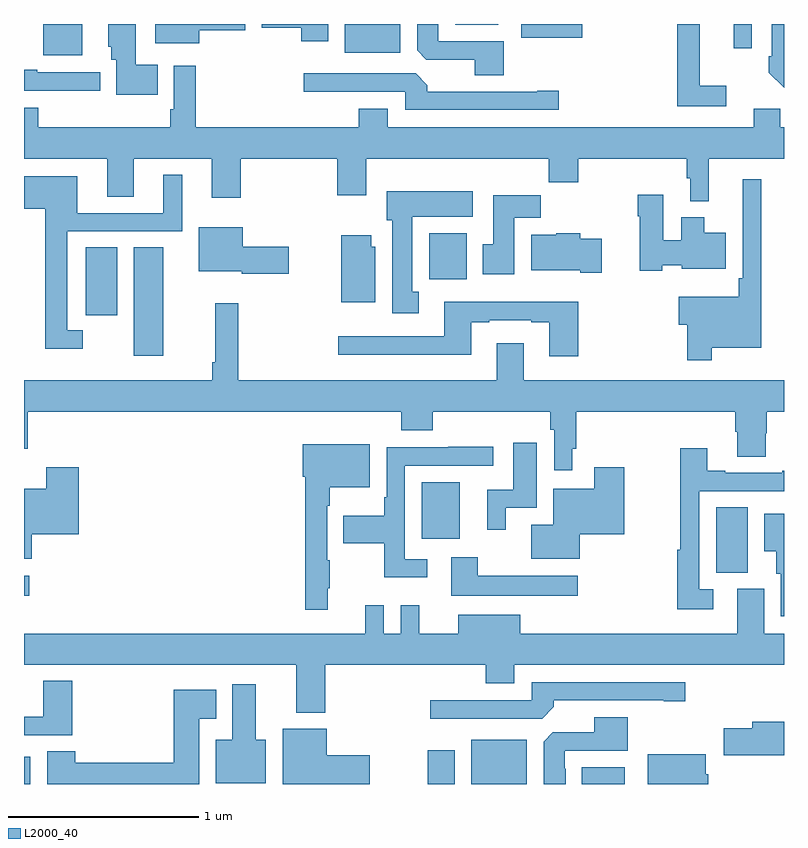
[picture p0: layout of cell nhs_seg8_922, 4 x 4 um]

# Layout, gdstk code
import gdstk
lib = gdstk.Library(unit=1e-6, precision=1e-09)
def R(c, l, rs):  # rectangles x0, y0, x1, y1
    for r in rs: c.add(gdstk.rectangle(r[:2], r[2:], *l))
def P(c, l, *ps):  # polygons
    for p in ps: c.add(gdstk.Polygon(p, *l))
L2000_40 = (2000, 40)

nhs_seg8_922 = lib.new_cell('nhs_seg8_922')
R(nhs_seg8_922, L2000_40, [(171,1087.9,171.034,1088.044), (173.125,1087.9,173.266,1088.077), (173.354,1087.9,173.647,1088.134), (173.936,1087.9,174.163,1087.987), (171,1088.891,171.028,1088.995), (174.644,1089.013,174.808,1089.356), (173.093,1089.191,173.293,1089.487), (171.578,1090.155,171.733,1090.724), (171.326,1090.368,171.49,1090.724), (173.132,1090.556,173.329,1090.798), (171.101,1091.735,171.307,1091.9), (172.688,1091.75,172.981,1091.9), (174.735,1091.772,174.831,1091.9), (173.616,1091.828,173.938,1091.9), (173.27,1091.897,173.497,1091.9)])
P(nhs_seg8_922, L2000_40, [(174.697,1091.575),(174.557,1091.575),(174.557,1091.9),(174.439,1091.9),(174.439,1091.466),(174.697,1091.466)],
  [(171.922,1091.867),(172.165,1091.867),(172.165,1091.9),(171.692,1091.9),(171.692,1091.798),(171.922,1091.798)],
  [(172.6,1091.9),(172.25,1091.9),(172.25,1091.879),(172.459,1091.879),(172.459,1091.808),(172.6,1091.808)],
  [(173.525,1091.808),(173.181,1091.808),(173.181,1091.9),(173.069,1091.9),(173.069,1091.761),(173.118,1091.712),(173.372,1091.712),(173.372,1091.629),(173.525,1091.629)],
  [(175,1091.9),(174.936,1091.9),(174.936,1091.731),(174.921,1091.731),(174.921,1091.643),(175,1091.564)],
  [(171.704,1091.686),(171.589,1091.686),(171.589,1091.9),(171.443,1091.9),(171.443,1091.781),(171.458,1091.781),(171.458,1091.712),(171.485,1091.712),(171.485,1091.528),(171.704,1091.528)],
  [(172.801,1091.192),(173.761,1091.192),(173.761,1091.068),(173.918,1091.068),(173.918,1091.192),(174.487,1091.192),(174.487,1091.089),(174.506,1091.089),(174.506,1090.967),(174.605,1090.967),(174.605,1091.192),(175,1091.192),(175,1091.356),(174.981,1091.356),(174.981,1091.454),(174.842,1091.454),(174.842,1091.356),(172.915,1091.356),(172.915,1091.455),(172.763,1091.455),(172.763,1091.356),(171.905,1091.356),(171.905,1091.68),(171.789,1091.68),(171.789,1091.452),(171.769,1091.452),(171.769,1091.356),(171.074,1091.356),(171.074,1091.458),(171,1091.458),(171,1091.192),(171.437,1091.192),(171.437,1090.99),(171.577,1090.99),(171.577,1091.192),(171.989,1091.192),(171.989,1090.986),(172.142,1090.986),(172.142,1091.192),(172.649,1091.192),(172.649,1090.998),(172.801,1090.998)],
  [(171.4,1091.646),(171.07,1091.646),(171.07,1091.659),(171,1091.659),(171,1091.55),(171.157,1091.55),(171.157,1091.549),(171.4,1091.549)],
  [(173.815,1091.549),(173.702,1091.549),(173.702,1091.544),(173.123,1091.544),(173.123,1091.578),(173.061,1091.64),(172.473,1091.64),(172.473,1091.544),(173.007,1091.544),(173.007,1091.448),(173.815,1091.448)],
  [(171.31,1090.287),(171.228,1090.287),(171.228,1090.809),(171.832,1090.809),(171.832,1091.107),(171.734,1091.107),(171.734,1090.905),(171.28,1090.905),(171.28,1091.098),(171,1091.098),(171,1090.928),(171.112,1090.928),(171.112,1090.19),(171.31,1090.19)],
  [(174.619,1090.196),(174.88,1090.196),(174.88,1091.083),(174.783,1091.083),(174.783,1090.561),(174.763,1090.561),(174.763,1090.465),(174.446,1090.465),(174.446,1090.318),(174.49,1090.318),(174.49,1090.131),(174.619,1090.131)],
  [(173.077,1090.49),(173.044,1090.49),(173.044,1090.886),(173.362,1090.886),(173.362,1091.02),(172.91,1091.02),(172.91,1090.866),(172.937,1090.866),(172.937,1090.377),(173.077,1090.377)],
  [(174.36,1090.631),(174.462,1090.631),(174.462,1090.613),(174.694,1090.613),(174.694,1090.801),(174.58,1090.801),(174.58,1090.882),(174.458,1090.882),(174.458,1090.761),(174.364,1090.761),(174.364,1091.002),(174.23,1091.002),(174.23,1090.889),(174.242,1090.889),(174.242,1090.601),(174.36,1090.601)],
  [(173.581,1090.88),(173.72,1090.88),(173.72,1090.999),(173.471,1090.999),(173.471,1090.74),(173.414,1090.74),(173.414,1090.584),(173.581,1090.584)],
  [(172.393,1090.728),(172.15,1090.728),(172.15,1090.831),(171.92,1090.831),(171.92,1090.598),(172.146,1090.598),(172.146,1090.586),(172.393,1090.586)],
  [(174.04,1090.77),(173.928,1090.77),(173.928,1090.798),(173.802,1090.798),(173.802,1090.792),(173.669,1090.792),(173.669,1090.604),(173.927,1090.604),(173.927,1090.592),(174.04,1090.592)],
  [(172.849,1090.728),(172.828,1090.728),(172.828,1090.789),(172.67,1090.789),(172.67,1090.436),(172.849,1090.436)],
  [(173.918,1090.438),(173.213,1090.438),(173.213,1090.257),(172.653,1090.257),(172.653,1090.16),(173.353,1090.16),(173.353,1090.329),(173.449,1090.329),(173.449,1090.341),(173.669,1090.341),(173.669,1090.329),(173.765,1090.329),(173.765,1090.152),(173.918,1090.152)],
  [(173.629,1090.219),(173.489,1090.219),(173.489,1090.024),(172.127,1090.024),(172.127,1090.429),(172.006,1090.429),(172.006,1090.12),(171.991,1090.12),(171.991,1090.024),(171,1090.024),(171,1089.664),(171.02,1089.664),(171.02,1089.86),(172.985,1089.86),(172.985,1089.761),(173.15,1089.761),(173.15,1089.86),(173.77,1089.86),(173.77,1089.764),(173.79,1089.764),(173.79,1089.552),(173.886,1089.552),(173.886,1089.664),(173.906,1089.664),(173.906,1089.86),(174.743,1089.86),(174.743,1089.754),(174.755,1089.754),(174.755,1089.622),(174.903,1089.622),(174.903,1089.747),(174.908,1089.747),(174.908,1089.86),(175,1089.86),(175,1090.024),(173.629,1090.024)],
  [(173.536,1089.354),(173.698,1089.354),(173.698,1089.697),(173.576,1089.697),(173.576,1089.45),(173.438,1089.45),(173.438,1089.237),(173.536,1089.237)],
  [(172.598,1088.929),(172.609,1088.929),(172.609,1089.077),(172.596,1089.077),(172.596,1089.365),(172.609,1089.365),(172.609,1089.461),(172.819,1089.461),(172.819,1089.688),(172.466,1089.688),(172.466,1089.518),(172.48,1089.518),(172.48,1088.817),(172.598,1088.817)],
  [(173.122,1089.084),(173.004,1089.084),(173.004,1089.576),(173.47,1089.576),(173.47,1089.674),(173.233,1089.674),(173.233,1089.672),(172.908,1089.672),(172.908,1089.409),(172.896,1089.409),(172.896,1089.313),(172.681,1089.313),(172.681,1089.166),(172.896,1089.166),(172.896,1088.987),(173.122,1088.987)],
  [(174.628,1088.925),(174.555,1088.925),(174.555,1089.441),(175,1089.441),(175,1089.55),(174.991,1089.55),(174.991,1089.537),(174.691,1089.537),(174.691,1089.55),(174.595,1089.55),(174.595,1089.667),(174.454,1089.667),(174.454,1089.132),(174.439,1089.132),(174.439,1088.82),(174.628,1088.82)],
  [(171.04,1089.215),(171.287,1089.215),(171.287,1089.568),(171.116,1089.568),(171.116,1089.454),(171,1089.454),(171,1089.086),(171.04,1089.086)],
  [(173.926,1089.215),(174.16,1089.215),(174.16,1089.568),(174.002,1089.568),(174.002,1089.454),(173.786,1089.454),(173.786,1089.265),(173.669,1089.265),(173.669,1089.086),(173.926,1089.086)],
  [(175,1089.322),(174.896,1089.322),(174.896,1089.125),(174.959,1089.125),(174.959,1089.006),(174.984,1089.006),(174.984,1088.784),(175,1088.784)],
  [(173.914,1088.995),(173.389,1088.995),(173.389,1089.094),(173.249,1089.094),(173.249,1088.891),(173.914,1088.891)],
  [(172.586,1088.528),(173.429,1088.528),(173.429,1088.429),(173.581,1088.429),(173.581,1088.528),(175,1088.528),(175,1088.692),(174.895,1088.692),(174.895,1088.928),(174.755,1088.928),(174.755,1088.692),(173.611,1088.692),(173.611,1088.791),(173.285,1088.791),(173.285,1088.692),(173.081,1088.692),(173.081,1088.842),(172.983,1088.842),(172.983,1088.692),(172.893,1088.692),(172.893,1088.842),(172.796,1088.842),(172.796,1088.692),(171,1088.692),(171,1088.528),(172.433,1088.528),(172.433,1088.276),(172.586,1088.276)],
  [(171.254,1088.443),(171.101,1088.443),(171.101,1088.253),(171,1088.253),(171,1088.157),(171.254,1088.157)],
  [(173.789,1088.306),(173.789,1088.34),(174.368,1088.34),(174.368,1088.335),(174.481,1088.335),(174.481,1088.436),(173.673,1088.436),(173.673,1088.34),(173.139,1088.34),(173.139,1088.244),(173.727,1088.244)],
  [(172.273,1088.134),(172.219,1088.134),(172.219,1088.425),(172.097,1088.425),(172.097,1088.134),(172.01,1088.134),(172.01,1087.904),(172.273,1087.904)],
  [(171.922,1088.243),(172.012,1088.243),(172.012,1088.395),(171.788,1088.395),(171.788,1088.012),(171.269,1088.012),(171.269,1088.072),(171.122,1088.072),(171.122,1087.9),(171.922,1087.9)],
  [(173.851,1087.979),(173.847,1087.979),(173.847,1088.076),(174.178,1088.076),(174.178,1088.251),(174.002,1088.251),(174.002,1088.172),(173.784,1088.172),(173.735,1088.123),(173.735,1087.9),(173.851,1087.9)],
  [(175,1088.227),(174.833,1088.227),(174.833,1088.193),(174.684,1088.193),(174.684,1088.051),(175,1088.051)],
  [(172.819,1088.052),(172.594,1088.052),(172.594,1088.191),(172.361,1088.191),(172.361,1087.9),(172.819,1087.9)],
  [(174.602,1087.952),(174.589,1087.952),(174.589,1088.056),(174.282,1088.056),(174.282,1087.9),(174.602,1087.9)])

lib.write_gds('nhs_seg8_922.gds')
